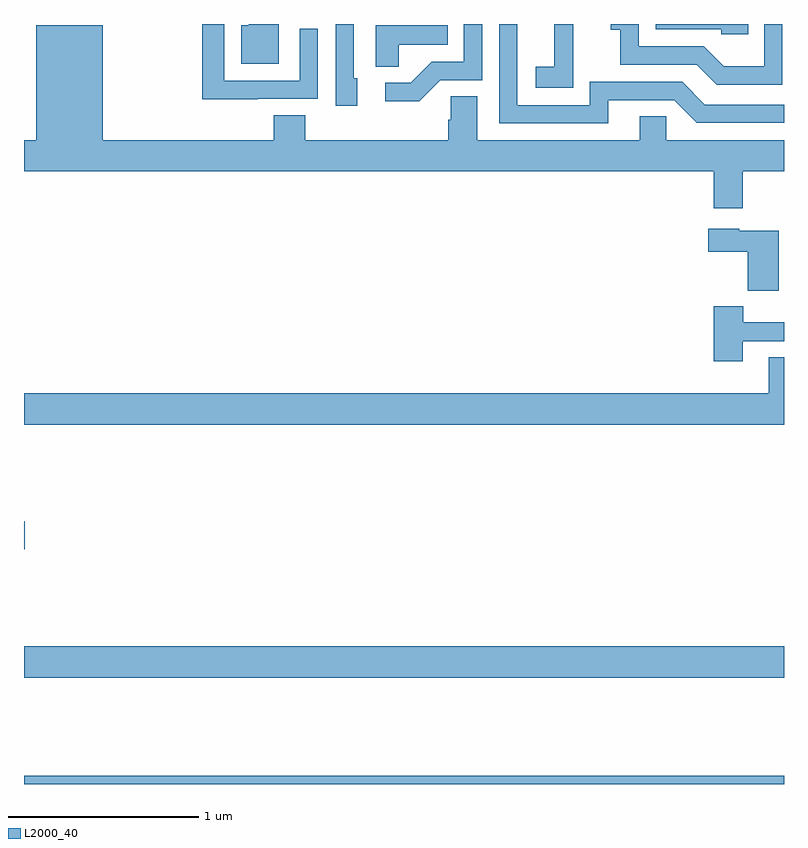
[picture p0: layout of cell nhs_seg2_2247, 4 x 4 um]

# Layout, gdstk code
import gdstk
lib = gdstk.Library(unit=1e-6, precision=1e-09)
def R(c, l, rs):  # rectangles x0, y0, x1, y1
    for r in rs: c.add(gdstk.rectangle(r[:2], r[2:], *l))
def P(c, l, *ps):  # polygons
    for p in ps: c.add(gdstk.Polygon(p, *l))
L2000_40 = (2000, 40)

nhs_seg2_2247 = lib.new_cell('nhs_seg2_2247')
R(nhs_seg2_2247, L2000_40, [(229,589.8,233,589.844), (229,590.36,233,590.524), (229,591.035,229.003,591.182)])
P(nhs_seg2_2247, L2000_40, [(231.192,593.505),(231.411,593.505),(231.411,593.8),(231.315,593.8),(231.315,593.601),(231.146,593.601),(231.035,593.49),(230.901,593.49),(230.901,593.393),(231.079,593.393)],
  [(231.891,593.671),(231.89,593.671),(231.89,593.8),(231.791,593.8),(231.791,593.575),(231.693,593.575),(231.693,593.465),(231.891,593.465)],
  [(232.811,593.8),(232.326,593.8),(232.326,593.772),(232.671,593.772),(232.671,593.745),(232.811,593.745)],
  [(232.992,593.8),(232.896,593.8),(232.896,593.578),(232.682,593.578),(232.578,593.682),(232.236,593.682),(232.236,593.8),(232.089,593.8),(232.089,593.771),(232.138,593.771),(232.138,593.586),(232.541,593.586),(232.646,593.481),(232.992,593.481)],
  [(230.231,593.406),(230.547,593.406),(230.547,593.776),(230.451,593.776),(230.451,593.502),(230.055,593.502),(230.055,593.8),(229.939,593.8),(229.939,593.405),(230.231,593.405)],
  [(230.755,593.514),(230.736,593.514),(230.736,593.8),(230.64,593.8),(230.64,593.37),(230.755,593.37)],
  [(232.075,593.4),(232.422,593.4),(232.542,593.28),(233,593.28),(233,593.376),(232.584,593.376),(232.464,593.496),(231.978,593.496),(231.978,593.373),(231.597,593.373),(231.597,593.8),(231.501,593.8),(231.501,593.277),(232.075,593.277)],
  [(230.341,593.8),(230.183,593.8),(230.183,593.794),(230.144,593.794),(230.144,593.591),(230.341,593.591)],
  [(230.973,593.69),(231.23,593.69),(231.23,593.794),(230.852,593.794),(230.852,593.575),(230.973,593.575)],
  [(232.783,593.024),(233,593.024),(233,593.188),(232.38,593.188),(232.38,593.315),(232.241,593.315),(232.241,593.188),(231.385,593.188),(231.385,593.42),(231.246,593.42),(231.246,593.297),(231.233,593.297),(231.233,593.188),(230.48,593.188),(230.48,593.321),(230.315,593.321),(230.315,593.188),(229.414,593.188),(229.414,593.794),(229.064,593.794),(229.064,593.188),(229,593.188),(229,593.024),(232.631,593.024),(232.631,592.83),(232.783,592.83)],
  [(232.972,592.711),(232.764,592.711),(232.764,592.723),(232.602,592.723),(232.602,592.601),(232.81,592.601),(232.81,592.397),(232.972,592.397)],
  [(232.783,592.131),(233,592.131),(233,592.231),(232.786,592.231),(232.786,592.315),(232.631,592.315),(232.631,592.026),(232.783,592.026)],
  [(233,592.046),(232.919,592.046),(232.919,591.856),(229,591.856),(229,591.692),(233,591.692)])

lib.write_gds('nhs_seg2_2247.gds')
